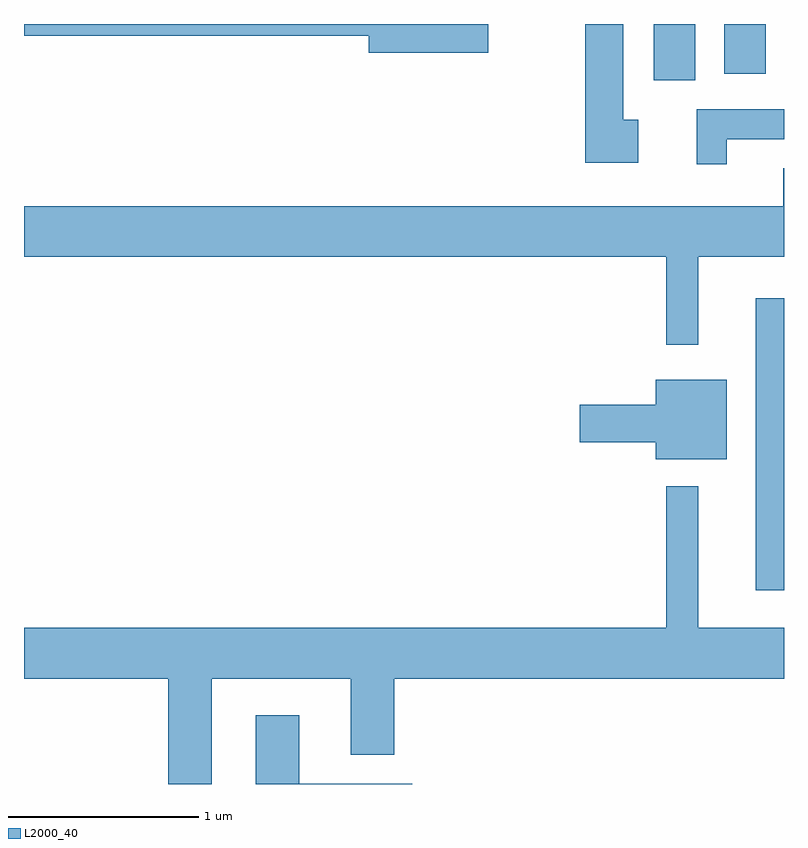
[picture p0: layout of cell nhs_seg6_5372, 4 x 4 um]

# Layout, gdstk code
import gdstk
lib = gdstk.Library(unit=1e-6, precision=1e-09)
def R(c, l, rs):  # rectangles x0, y0, x1, y1
    for r in rs: c.add(gdstk.rectangle(r[:2], r[2:], *l))
def P(c, l, *ps):  # polygons
    for p in ps: c.add(gdstk.Polygon(p, *l))
L2000_40 = (2000, 40)

nhs_seg6_5372 = lib.new_cell('nhs_seg6_5372')
R(nhs_seg6_5372, L2000_40, [(353.461,1537.181,353.611,1538.718), (352.926,1539.866,353.144,1540.162), (353.296,1539.901,353.514,1540.162)])
P(nhs_seg6_5372, L2000_40, [(352.054,1540.162),(349.611,1540.162),(349.611,1540.101),(351.426,1540.101),(351.426,1540.011),(352.054,1540.011)],
  [(352.844,1539.659),(352.764,1539.659),(352.764,1540.162),(352.566,1540.162),(352.566,1539.431),(352.844,1539.431)],
  [(353.309,1539.556),(353.611,1539.556),(353.611,1539.714),(353.151,1539.714),(353.151,1539.423),(353.309,1539.423)],
  [(353.159,1538.936),(353.611,1538.936),(353.611,1539.404),(353.606,1539.404),(353.606,1539.204),(349.611,1539.204),(349.611,1538.936),(352.991,1538.936),(352.991,1538.473),(353.159,1538.473)],
  [(353.309,1538.289),(352.936,1538.289),(352.936,1538.159),(352.536,1538.159),(352.536,1537.961),(352.936,1537.961),(352.936,1537.871),(353.309,1537.871)],
  [(350.599,1536.716),(351.331,1536.716),(351.331,1536.316),(351.559,1536.316),(351.559,1536.716),(353.611,1536.716),(353.611,1536.984),(353.159,1536.984),(353.159,1537.728),(352.991,1537.728),(352.991,1536.984),(349.611,1536.984),(349.611,1536.716),(350.371,1536.716),(350.371,1536.162),(350.599,1536.162)],
  [(351.654,1536.164),(351.059,1536.164),(351.059,1536.524),(350.831,1536.524),(350.831,1536.162),(351.654,1536.162)])

lib.write_gds('nhs_seg6_5372.gds')
